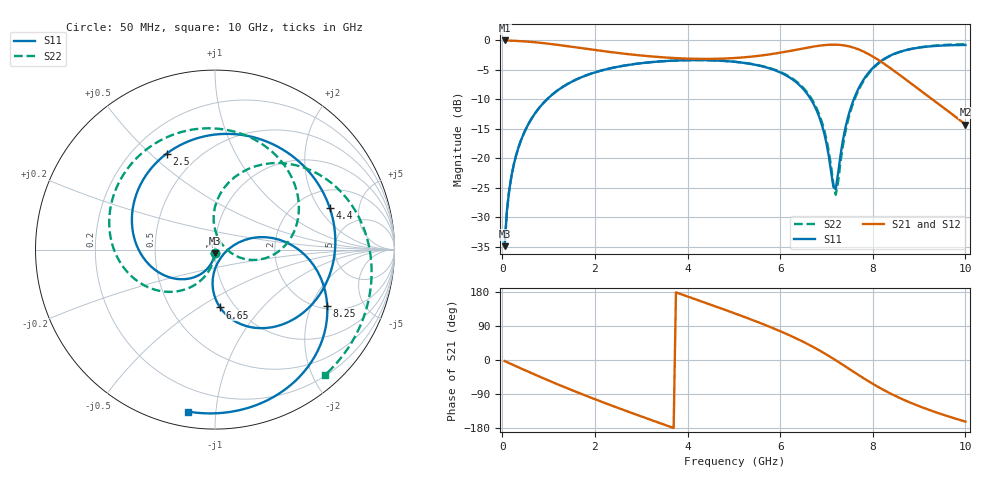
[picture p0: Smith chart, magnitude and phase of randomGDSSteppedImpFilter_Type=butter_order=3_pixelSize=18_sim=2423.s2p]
! freq	dB(S11)	phase(S11)	dB(S12)	phase(S12)
!  dB(S21)	phase(S21)	dB(S22)	phase(S22)
!S-par simulation data
#  GHz  S  DB  R 50
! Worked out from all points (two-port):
!   200 points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, 50 MHz to 10 GHz, reference 50 ohm
!   highest |S21| = 0.00 dB at 50 MHz (marker M1); lowest = -14.3 dB at 10 GHz (marker M2)
!   |S21| within 3 dB of the highest: start of sweep to 3.764 GHz; 4.969 GHz to 8.06 GHz (3.091 GHz wide, 47.4 % of centre)
!   lowest |S11| = -34.9 dB at 50 MHz (marker M3), VSWR 1.04, Z = 49.9 - j1.8 ohm
!   |S11| at or under -10 dB: start of sweep to 963.5 MHz; 6.665 GHz to 7.59 GHz (924.9 MHz wide, 13 % of centre)
!   |S22| runs from -34.9 to -0.6 dB; largest |S21 - S12| = 0
!   S11 on the Smith chart (normalised r, x): 50 MHz: 1.00, -0.04; 2.5 GHz: 0.34, +0.56; 4.4 GHz: 2.93, +2.52; 6.65 GHz: 0.85, -0.61; 8.25 GHz: 2.14, -2.63; 10 GHz: 0.08, -0.84
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0.05  -34.87 -93.3  -0.00 -2.8  -0.00 -2.8  -34.86 -92.2
0.1  -28.86 -96.8  -0.01 -5.6  -0.01 -5.6  -28.86 -94.7
0.2  -22.89 -103.6  -0.04 -11.1  -0.04 -11.1  -22.88 -99.4
0.5  -15.16 -123.4  -0.18 -27.5  -0.18 -27.5  -15.15 -112.8
1.1  -9.04 -161.5  -0.65 -59.3  -0.65 -59.3  -9.03 -138.3
1.75  -6.11 159.3  -1.35 -91.6  -1.35 -91.6  -6.10 -163.9
2.5  -4.46 116.8  -2.13 -126.5  -2.13 -126.5  -4.45 168.8
3.4  -3.56 69.0  -2.83 -166.4  -2.83 -166.4  -3.56 137.2
4.4  -3.35 19.9  -3.13 150.3  -3.13 150.3  -3.34 100.7
5.05  -3.65 -10.2  -2.97 121.7  -2.97 121.7  -3.63 74.7
5.95  -5.25 -51.5  -2.14 78.7  -2.14 78.7  -5.17 33.5
6.65  -9.81 -85.0  -1.14 38.5  -1.14 38.5  -9.54 -4.3
6.7  -10.47 -87.3  -1.07 35.2  -1.07 35.2  -10.17 -7.0
6.95  -15.70 -94.4  -0.80 18.1  -0.80 18.1  -15.13 -17.6
7.2  -25.22 -23.9  -0.72 -0.5  -0.72 -0.5  -26.16 38.9
7.4  -15.13 18.0  -0.87 -16.3  -0.87 -16.3  -15.85 92.7
7.6  -9.78 11.6  -1.25 -32.2  -1.25 -32.2  -10.13 84.7
7.9  -5.56 -6.0  -2.28 -55.5  -2.28 -55.5  -5.73 64.0
8.25  -3.11 -26.6  -3.98 -80.1  -3.98 -80.1  -3.18 39.6
8.35  -2.67 -32.0  -4.53 -86.5  -4.53 -86.5  -2.73 33.1
9.1  -1.11 -66.6  -8.89 -126.4  -8.89 -126.4  -1.07 -9.2
10  -0.77 -99.5  -14.26 -162.5  -14.26 -162.5  -0.64 -48.8
